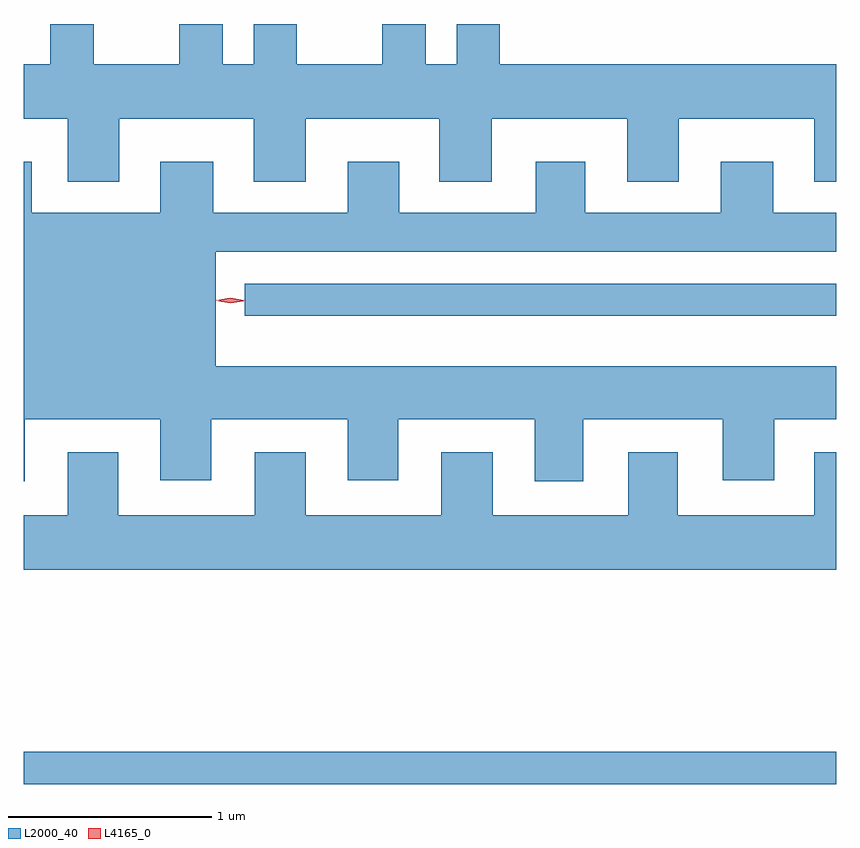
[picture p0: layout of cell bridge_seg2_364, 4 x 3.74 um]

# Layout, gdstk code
import gdstk
lib = gdstk.Library(unit=1e-6, precision=1e-09)
def R(c, l, rs):  # rectangles x0, y0, x1, y1
    for r in rs: c.add(gdstk.rectangle(r[:2], r[2:], *l))
def P(c, l, *ps):  # polygons
    for p in ps: c.add(gdstk.Polygon(p, *l))
L2000_40 = (2000, 40)
L4165_0 = (4165, 0)

bridge_seg2_364 = lib.new_cell('bridge_seg2_364')
R(bridge_seg2_364, L2000_40, [(607.265,1029.501,611.265,1029.659), (608.353,1031.806,611.265,1031.964)])
P(bridge_seg2_364, L2000_40, [(607.734,1032.776),(608.396,1032.776),(608.396,1032.466),(608.654,1032.466),(608.654,1032.776),(609.311,1032.776),(609.311,1032.466),(609.569,1032.466),(609.569,1032.776),(610.236,1032.776),(610.236,1032.466),(610.489,1032.466),(610.489,1032.776),(611.156,1032.776),(611.156,1032.466),(611.265,1032.466),(611.265,1033.044),(609.609,1033.044),(609.609,1033.243),(609.396,1033.243),(609.396,1033.044),(609.244,1033.044),(609.244,1033.243),(609.031,1033.243),(609.031,1033.044),(608.609,1033.044),(608.609,1033.243),(608.396,1033.243),(608.396,1033.044),(608.244,1033.044),(608.244,1033.243),(608.031,1033.243),(608.031,1033.044),(607.609,1033.044),(607.609,1033.243),(607.396,1033.243),(607.396,1033.044),(607.265,1033.044),(607.265,1032.776),(607.481,1032.776),(607.481,1032.466),(607.734,1032.466)],
  [(607.269,1031.296),(607.936,1031.296),(607.936,1030.996),(608.189,1030.996),(608.189,1031.296),(608.861,1031.296),(608.861,1030.996),(609.109,1030.996),(609.109,1031.296),(609.781,1031.296),(609.781,1030.991),(610.019,1030.991),(610.019,1031.296),(610.706,1031.296),(610.706,1030.996),(610.959,1030.996),(610.959,1031.296),(611.265,1031.296),(611.265,1031.559),(608.209,1031.559),(608.209,1032.121),(611.265,1032.121),(611.265,1032.314),(610.954,1032.314),(610.954,1032.564),(610.696,1032.564),(610.696,1032.314),(610.029,1032.314),(610.029,1032.564),(609.786,1032.564),(609.786,1032.314),(609.114,1032.314),(609.114,1032.564),(608.861,1032.564),(608.861,1032.314),(608.199,1032.314),(608.199,1032.564),(607.936,1032.564),(607.936,1032.314),(607.304,1032.314),(607.304,1032.564),(607.265,1032.564),(607.265,1030.991),(607.269,1030.991)],
  [(611.265,1031.134),(611.156,1031.134),(611.156,1030.824),(610.484,1030.824),(610.484,1031.134),(610.241,1031.134),(610.241,1030.824),(609.574,1030.824),(609.574,1031.134),(609.321,1031.134),(609.321,1030.824),(608.654,1030.824),(608.654,1031.134),(608.401,1031.134),(608.401,1030.824),(607.729,1030.824),(607.729,1031.134),(607.481,1031.134),(607.481,1030.824),(607.265,1030.824),(607.265,1030.556),(611.265,1030.556)])
P(bridge_seg2_364, L4165_0, [(608.284,1031.869),(608.222,1031.878),(608.222,1031.879),(608.222,1031.879),(608.284,1031.889),(608.346,1031.88),(608.347,1031.879),(608.346,1031.879)],
  [(608.282,1031.874),(608.213,1031.883),(608.212,1031.884),(608.213,1031.884),(608.282,1031.894),(608.35,1031.884),(608.35,1031.884),(608.35,1031.883)])

lib.write_gds('bridge_seg2_364.gds')
